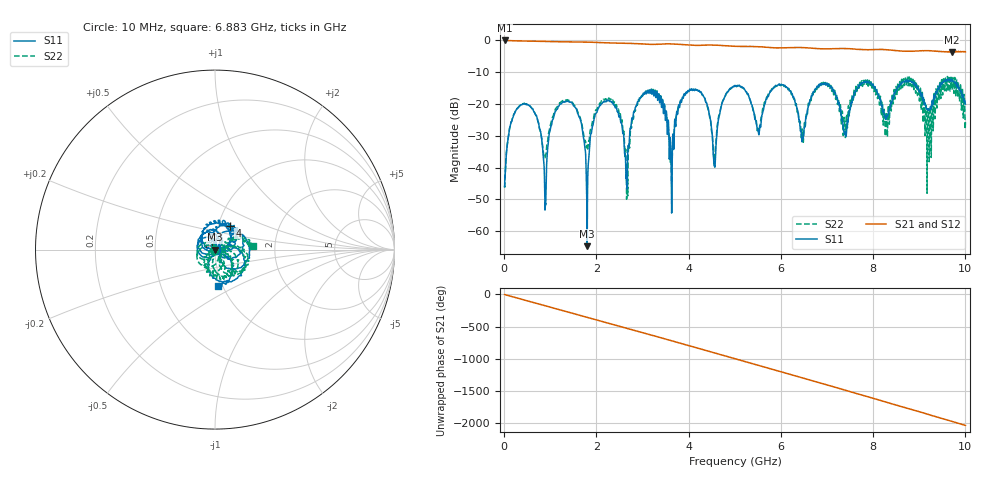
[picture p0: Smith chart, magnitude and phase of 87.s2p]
!Keysight Technologies,E5080B,MY59205177,A.15.75.32
!Date: Friday, February 23, 2024 03:34:16
!Correction: S11(Cdelta 2-Port  )
!S21(Cdelta 2-Port  )
!S12(Cdelta 2-Port  )
!S22(Cdelta 2-Port  )
!S2P File: Measurements: S11, S21, S12, S22:
# Hz S  dB  R 50
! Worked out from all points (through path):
!   10001 points, 10 MHz to 10 GHz, reference 50 ohm
!   highest |S21| = -0.01 dB at 10 MHz (marker M1); lowest = -3.7 dB at 9.701 GHz (marker M2)
!   group delay of S21, straight-line fit = 565 ps
!   lowest |S11| = -64.7 dB at 1.8 GHz (marker M3), VSWR 1.00, Z = 50 - j0.0548 ohm
!   |S11| at or under -10 dB: start of sweep to end of sweep
!   |S22| runs from -49.9 to -11.2 dB; largest |S21 - S12| = 0.0015
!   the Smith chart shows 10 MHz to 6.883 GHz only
!   S11 on the Smith chart (normalised r, x): 10 MHz: 1.01, -0.00; 4 GHz: 1.13, +0.31; 6.883 GHz: 0.95, -0.40
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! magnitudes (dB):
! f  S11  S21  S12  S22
! 10 MHz  -46.0  0.0  0.0  -45.9
! 373.6 MHz  -20.2  -0.2  -0.2  -20.1
! 888.1 MHz  -52.7  -0.3  -0.3  -36.7
! 1.178 GHz  -20.8  -0.4  -0.4  -20.2
! 1.675 GHz  -26.1  -0.5  -0.5  -25.5
! 1.8 GHz  -64.7  -0.5  -0.5  -33.1
! 2.109 GHz  -19.9  -0.7  -0.7  -19.0
! 2.662 GHz  -46.3  -0.9  -0.9  -43.7
! 2.907 GHz  -19.3  -1.0  -1.0  -18.8
! 3.341 GHz  -17.4  -1.2  -1.2  -17.7
! 3.627 GHz  -47.2  -1.1  -1.1  -42.1
! 4 GHz  -16.1  -1.4  -1.4  -15.9
! 4.561 GHz  -39.6  -1.5  -1.5  -38.5
! 5.005 GHz  -14.2  -1.9  -1.8  -14.5
! 5.517 GHz  -29.4  -2.0  -2.0  -28.4
! 6.67 GHz  -17.3  -2.4  -2.4  -16.9
! 6.883 GHz  -13.9  -2.6  -2.6  -13.4
! 7.385 GHz  -29.6  -2.6  -2.6  -26.0
! 7.796 GHz  -13.1  -2.9  -2.9  -12.9
! 8.336 GHz  -22.7  -3.0  -3.0  -20.9
! 9.701 GHz  -12.2  -3.7  -3.7  -13.8
! 10 GHz  -20.0  -3.6  -3.6  -25.5
